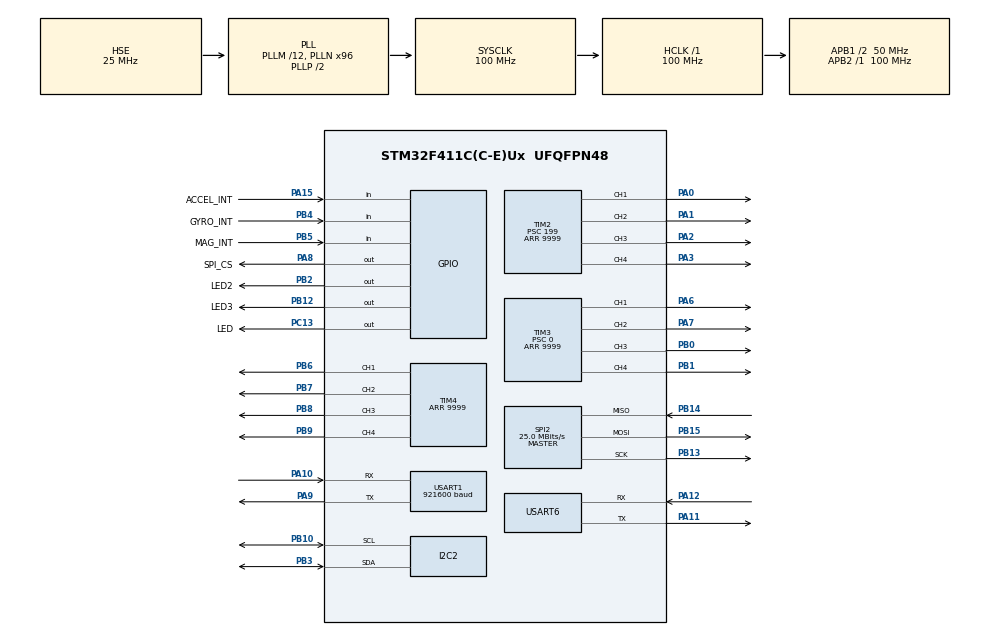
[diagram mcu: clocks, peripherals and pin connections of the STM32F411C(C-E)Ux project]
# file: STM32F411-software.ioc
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Mcu.Family=STM32F4
Mcu.Name=STM32F411C(C-E)Ux
Mcu.Package=UFQFPN48
NVIC.PriorityGroup=NVIC_PRIORITYGROUP_4
NVIC.TIM1_BRK_TIM9_IRQn=true\:0\:0\:false\:false\:true\:true\:true\:true
NVIC.TIM3_IRQn=true\:0\:0\:false\:false\:true\:true\:true\:true
NVIC.USART1_IRQn=true\:0\:0\:false\:false\:true\:true\:true\:true
PA0-WKUP.Signal=S_TIM2_CH1_ETR
PA1.Signal=S_TIM2_CH2
PA10.Mode=Asynchronous
PA10.Signal=USART1_RX
PA11.Mode=Asynchronous
PA11.Signal=USART6_TX
PA12.Mode=Asynchronous
PA12.Signal=USART6_RX
PA13.Mode=Serial_Wire
PA13.Signal=SYS_JTMS-SWDIO
PA14.Mode=Serial_Wire
PA14.Signal=SYS_JTCK-SWCLK
PA15.GPIO_Label=ACCEL_INT
PA15.Signal=GPIO_Input
PA2.Signal=S_TIM2_CH3
PA3.Signal=S_TIM2_CH4
PA6.Signal=S_TIM3_CH1
PA7.Signal=S_TIM3_CH2
PA8.GPIO_Label=SPI_CS
PA8.Signal=GPIO_Output
PA9.Mode=Asynchronous
PA9.Signal=USART1_TX
PB0.Signal=S_TIM3_CH3
PB1.Signal=S_TIM3_CH4
PB10.Mode=I2C
PB10.Signal=I2C2_SCL
PB12.GPIO_Label=LED3
PB12.Signal=GPIO_Output
PB13.Mode=Full_Duplex_Master
PB13.Signal=SPI2_SCK
PB14.Mode=Full_Duplex_Master
PB14.Signal=SPI2_MISO
PB15.Mode=Full_Duplex_Master
PB15.Signal=SPI2_MOSI
PB2.GPIO_Label=LED2
PB2.Signal=GPIO_Output
PB3.Mode=I2C
PB3.Signal=I2C2_SDA
PB4.GPIO_Label=GYRO_INT
PB4.Signal=GPIO_Input
PB5.GPIO_Label=MAG_INT
PB5.Signal=GPIO_Input
PB6.Signal=S_TIM4_CH1
PB7.Signal=S_TIM4_CH2
PB8.Signal=S_TIM4_CH3
PB9.Signal=S_TIM4_CH4
PC13-ANTI_TAMP.GPIO_Label=LED
PC13-ANTI_TAMP.Signal=GPIO_Output
PC14-OSC32_IN.Mode=LSE-External-Clock-Source
PC14-OSC32_IN.Signal=RCC_OSC32_IN
PC15-OSC32_OUT.Mode=LSE-External-Clock-Source
PC15-OSC32_OUT.Signal=RCC_OSC32_OUT
PH0\ -\ OSC_IN.Mode=HSE-External-Oscillator
PH0\ -\ OSC_IN.Signal=RCC_OSC_IN
PH1\ -\ OSC_OUT.Mode=HSE-External-Oscillator
PH1\ -\ OSC_OUT.Signal=RCC_OSC_OUT
ProjectManager.HeapSize=0x200
ProjectManager.StackSize=0x400
ProjectManager.TargetToolchain=STM32CubeIDE
RCC.48MHZClocksFreq_Value=50000000
RCC.AHBFreq_Value=100000000
RCC.APB1CLKDivider=RCC_HCLK_DIV2
RCC.APB1Freq_Value=50000000
RCC.APB1TimFreq_Value=100000000
RCC.APB2Freq_Value=100000000
RCC.APB2TimFreq_Value=100000000
RCC.CortexFreq_Value=100000000
RCC.HCLKFreq_Value=100000000
RCC.HSE_VALUE=25000000
RCC.HSI_VALUE=16000000
RCC.LSE_VALUE=32768
RCC.PLLM=12
RCC.PLLN=96
RCC.PLLSourceVirtual=RCC_PLLSOURCE_HSE
RCC.SYSCLKFreq_VALUE=100000000
RCC.SYSCLKSource=RCC_SYSCLKSOURCE_PLLCLK
RCC.VCOOutputFreq_Value=200000000
SH.S_TIM2_CH1_ETR.0=TIM2_CH1,PWM Generation1 CH1
SH.S_TIM2_CH2.0=TIM2_CH2,PWM Generation2 CH2
SH.S_TIM2_CH3.0=TIM2_CH3,PWM Generation3 CH3
SH.S_TIM2_CH4.0=TIM2_CH4,PWM Generation4 CH4
SH.S_TIM3_CH1.0=TIM3_CH1,PWM Generation1 CH1
SH.S_TIM3_CH2.0=TIM3_CH2,PWM Generation2 CH2
SH.S_TIM3_CH3.0=TIM3_CH3,PWM Generation3 CH3
SH.S_TIM3_CH4.0=TIM3_CH4,PWM Generation4 CH4
SH.S_TIM4_CH1.0=TIM4_CH1,PWM Generation1 CH1
SH.S_TIM4_CH2.0=TIM4_CH2,PWM Generation2 CH2
SH.S_TIM4_CH3.0=TIM4_CH3,PWM Generation3 CH3
SH.S_TIM4_CH4.0=TIM4_CH4,PWM Generation4 CH4
SPI2.CalculateBaudRate=25.0 MBits/s
SPI2.Direction=SPI_DIRECTION_2LINES
SPI2.Mode=SPI_MODE_MASTER
SPI2.VirtualType=VM_MASTER
TIM2.Channel-PWM\ Generation1\ CH1=TIM_CHANNEL_1
TIM2.Channel-PWM\ Generation2\ CH2=TIM_CHANNEL_2
TIM2.Channel-PWM\ Generation3\ CH3=TIM_CHANNEL_3
TIM2.Channel-PWM\ Generation4\ CH4=TIM_CHANNEL_4
TIM2.Period=9999
TIM2.Prescaler=199
TIM3.Channel-PWM\ Generation1\ CH1=TIM_CHANNEL_1
TIM3.Channel-PWM\ Generation2\ CH2=TIM_CHANNEL_2
TIM3.Channel-PWM\ Generation3\ CH3=TIM_CHANNEL_3
TIM3.Channel-PWM\ Generation4\ CH4=TIM_CHANNEL_4
TIM3.Period=9999
TIM3.Prescaler=0
TIM4.Channel-PWM\ Generation1\ CH1=TIM_CHANNEL_1
TIM4.Channel-PWM\ Generation2\ CH2=TIM_CHANNEL_2
TIM4.Channel-PWM\ Generation3\ CH3=TIM_CHANNEL_3
TIM4.Channel-PWM\ Generation4\ CH4=TIM_CHANNEL_4
TIM4.Period=9999
TIM9.Period=9999
TIM9.Prescaler=9999
USART1.BaudRate=921600
USART1.VirtualMode=VM_ASYNC
USART6.VirtualMode=VM_ASYNC
VP_TIM3_VS_ClockSourceINT.Mode=Internal
VP_TIM4_VS_ClockSourceINT.Mode=Internal
VP_TIM9_VS_ClockSourceINT.Mode=Internal
board=custom

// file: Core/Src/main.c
/* USER CODE BEGIN Header */
/**
  ******************************************************************************
  * @file           : main.c
  * @brief          : Main program body
  ******************************************************************************
  * @attention
  *
  * <h2><center>&copy; Copyright (c) 2021 STMicroelectronics.
  * All rights reserved.</center></h2>
  *
  * This software component is licensed by ST under BSD 3-Clause license,
  * the "License"; You may not use this file except in compliance with the
  * License. You may obtain a copy of the License at:
  *                        opensource.org/licenses/BSD-3-Clause
  *
  ******************************************************************************
  */
/* USER CODE END Header */
#include "main.h"

/* USER CODE BEGIN Includes */
#include "communication.h"
#include "control.h"

/* USER CODE END Includes */

I2C_HandleTypeDef hi2c2;

SPI_HandleTypeDef hspi2;

TIM_HandleTypeDef htim2;
TIM_HandleTypeDef htim3;
TIM_HandleTypeDef htim4;
TIM_HandleTypeDef htim9;

TIM_TypeDef *motorPWMSignal;

UART_HandleTypeDef huart1;
UART_HandleTypeDef huart6;

/* USER CODE BEGIN PV */
char command[4];
char return_msg[4];
int maxCCRVal = 0;

/* USER CODE END PV */

void SystemClock_Config(void);
static void MX_GPIO_Init(void);
static void MX_USART1_UART_Init(void);
static void MX_I2C2_Init(void);
static void MX_SPI2_Init(void);
static void MX_TIM3_Init(void);
static void MX_TIM4_Init(void);
static void MX_TIM9_Init(void);
static void MX_USART6_UART_Init(void);
static void MX_TIM2_Init(void);

/* USER CODE BEGIN 0 */
void HAL_TIM_PeriodElapsedCallback(TIM_HandleTypeDef* htim)
{

}

void HAL_UART_RxCpltCallback(UART_HandleTypeDef *huart)
{
    struct command cmd;
    decodeMessage(&cmd, command, 4);

//  HAL_GPIO_TogglePin(LED_GPIO_Port, LED_Pin);
    HAL_UART_Receive_IT(&huart1, (uint8_t *)command, 4);
}

/* USER CODE END 0 */

int main(void)
{

  /* MCU Configuration--------------------------------------------------------*/

  /* Reset of all peripherals, Initializes the Flash interface and the Systick. */
  HAL_Init();

  /* Configure the system clock */
  SystemClock_Config();

  /* Initialize all configured peripherals */
  MX_GPIO_Init();
  MX_USART1_UART_Init();
  MX_I2C2_Init();
  MX_SPI2_Init();
  MX_TIM3_Init();
  MX_TIM4_Init();
  MX_TIM9_Init();
  MX_USART6_UART_Init();
  MX_TIM2_Init();
  /* USER CODE BEGIN 2 */

  // start timer 9
  HAL_TIM_Base_Start_IT(&htim9);

  /* USER CODE END 2 */

  /* Infinite loop */
  /* USER CODE BEGIN WHILE */

  HAL_UART_Receive_IT(&huart1, (uint8_t *)command, 4);

    for (int i = 0; i < 4; ++i) {
        HAL_GPIO_WritePin(LED_GPIO_Port, LED_Pin, GPIO_PIN_SET);
        HAL_Delay(250);
        HAL_GPIO_WritePin(LED_GPIO_Port, LED_Pin, GPIO_PIN_RESET);
        HAL_Delay(250);
    }

    command[0] = 'A';
    command[1] = 'B';
    command[2] = 'C';
    command[3] = 'D';

    motorPWMSignal = TIM2;

    HAL_TIM_PWM_Start(&htim2, TIM_CHANNEL_1);
    HAL_TIM_PWM_Start(&htim2, TIM_CHANNEL_2);
    HAL_TIM_PWM_Start(&htim2, TIM_CHANNEL_3);
    HAL_TIM_PWM_Start(&htim2, TIM_CHANNEL_4);

    maxCCRVal = 10000;
    TIM2->CCR1 = 5000;
    TIM2->CCR2 = 5000;
    TIM2->CCR3 = 5000;
    TIM2->CCR4 = 5000;

    int i = 0;
    while (1)
    {
    	for (i = 0; i < 10000; i += 200)
    	{
    		setMotorDutyCycle(i, 3);
    		HAL_Delay(19);
    	}
    	HAL_GPIO_TogglePin(LED_GPIO_Port, LED_Pin);
    /* USER CODE END WHILE */

    }
}

void SystemClock_Config(void)
{
  RCC_OscInitTypeDef RCC_OscInitStruct = {0};
  RCC_ClkInitTypeDef RCC_ClkInitStruct = {0};

  /** Configure the main internal regulator output voltage
  */
  __HAL_RCC_PWR_CLK_ENABLE();
  __HAL_PWR_VOLTAGESCALING_CONFIG(PWR_REGULATOR_VOLTAGE_SCALE1);
  /** Initializes the RCC Oscillators according to the specified parameters
  * in the RCC_OscInitTypeDef structure.
  */
  RCC_OscInitStruct.OscillatorType = RCC_OSCILLATORTYPE_HSE;
  RCC_OscInitStruct.HSEState = RCC_HSE_ON;
  RCC_OscInitStruct.PLL.PLLState = RCC_PLL_ON;
  RCC_OscInitStruct.PLL.PLLSource = RCC_PLLSOURCE_HSE;
  RCC_OscInitStruct.PLL.PLLM = 12;
  RCC_OscInitStruct.PLL.PLLN = 96;
  RCC_OscInitStruct.PLL.PLLP = RCC_PLLP_DIV2;
  RCC_OscInitStruct.PLL.PLLQ = 4;
  if (HAL_RCC_OscConfig(&RCC_OscInitStruct) != HAL_OK)
  {
    Error_Handler();
  }
  /** Initializes the CPU, AHB and APB buses clocks
  */
  RCC_ClkInitStruct.ClockType = RCC_CLOCKTYPE_HCLK|RCC_CLOCKTYPE_SYSCLK
                              |RCC_CLOCKTYPE_PCLK1|RCC_CLOCKTYPE_PCLK2;
  RCC_ClkInitStruct.SYSCLKSource = RCC_SYSCLKSOURCE_PLLCLK;
  RCC_ClkInitStruct.AHBCLKDivider = RCC_SYSCLK_DIV1;
  RCC_ClkInitStruct.APB1CLKDivider = RCC_HCLK_DIV2;
  RCC_ClkInitStruct.APB2CLKDivider = RCC_HCLK_DIV1;

  if (HAL_RCC_ClockConfig(&RCC_ClkInitStruct, FLASH_LATENCY_3) != HAL_OK)
  {
    Error_Handler();
  }
}

static void MX_I2C2_Init(void)
{

  hi2c2.Instance = I2C2;
  hi2c2.Init.ClockSpeed = 100000;
  hi2c2.Init.DutyCycle = I2C_DUTYCYCLE_2;
  hi2c2.Init.OwnAddress1 = 0;
  hi2c2.Init.AddressingMode = I2C_ADDRESSINGMODE_7BIT;
  hi2c2.Init.DualAddressMode = I2C_DUALADDRESS_DISABLE;
  hi2c2.Init.OwnAddress2 = 0;
  hi2c2.Init.GeneralCallMode = I2C_GENERALCALL_DISABLE;
  hi2c2.Init.NoStretchMode = I2C_NOSTRETCH_DISABLE;
  if (HAL_I2C_Init(&hi2c2) != HAL_OK)
  {
    Error_Handler();
  }

}

static void MX_SPI2_Init(void)
{

  /* SPI2 parameter configuration*/
  hspi2.Instance = SPI2;
  hspi2.Init.Mode = SPI_MODE_MASTER;
  hspi2.Init.Direction = SPI_DIRECTION_2LINES;
  hspi2.Init.DataSize = SPI_DATASIZE_8BIT;
  hspi2.Init.CLKPolarity = SPI_POLARITY_LOW;
  hspi2.Init.CLKPhase = SPI_PHASE_1EDGE;
  hspi2.Init.NSS = SPI_NSS_SOFT;
  hspi2.Init.BaudRatePrescaler = SPI_BAUDRATEPRESCALER_2;
  hspi2.Init.FirstBit = SPI_FIRSTBIT_MSB;
  hspi2.Init.TIMode = SPI_TIMODE_DISABLE;
  hspi2.Init.CRCCalculation = SPI_CRCCALCULATION_DISABLE;
  hspi2.Init.CRCPolynomial = 10;
  if (HAL_SPI_Init(&hspi2) != HAL_OK)
  {
    Error_Handler();
  }

}

static void MX_TIM2_Init(void)
{

  TIM_MasterConfigTypeDef sMasterConfig = {0};
  TIM_OC_InitTypeDef sConfigOC = {0};

  htim2.Instance = TIM2;
  htim2.Init.Prescaler = 199;
  htim2.Init.CounterMode = TIM_COUNTERMODE_UP;
  htim2.Init.Period = 9999;
  htim2.Init.ClockDivision = TIM_CLOCKDIVISION_DIV1;
  htim2.Init.AutoReloadPreload = TIM_AUTORELOAD_PRELOAD_DISABLE;
  if (HAL_TIM_PWM_Init(&htim2) != HAL_OK)
  {
    Error_Handler();
  }
  sMasterConfig.MasterOutputTrigger = TIM_TRGO_RESET;
  sMasterConfig.MasterSlaveMode = TIM_MASTERSLAVEMODE_DISABLE;
  if (HAL_TIMEx_MasterConfigSynchronization(&htim2, &sMasterConfig) != HAL_OK)
  {
    Error_Handler();
  }
  sConfigOC.OCMode = TIM_OCMODE_PWM1;
  sConfigOC.Pulse = 0;
  sConfigOC.OCPolarity = TIM_OCPOLARITY_HIGH;
  sConfigOC.OCFastMode = TIM_OCFAST_DISABLE;
  if (HAL_TIM_PWM_ConfigChannel(&htim2, &sConfigOC, TIM_CHANNEL_1) != HAL_OK)
  {
    Error_Handler();
  }
  if (HAL_TIM_PWM_ConfigChannel(&htim2, &sConfigOC, TIM_CHANNEL_2) != HAL_OK)
  {
    Error_Handler();
  }
  if (HAL_TIM_PWM_ConfigChannel(&htim2, &sConfigOC, TIM_CHANNEL_3) != HAL_OK)
  {
    Error_Handler();
  }
  if (HAL_TIM_PWM_ConfigChannel(&htim2, &sConfigOC, TIM_CHANNEL_4) != HAL_OK)
  {
    Error_Handler();
  }
  HAL_TIM_MspPostInit(&htim2);

}

static void MX_TIM3_Init(void)
{

  TIM_ClockConfigTypeDef sClockSourceConfig = {0};
  TIM_MasterConfigTypeDef sMasterConfig = {0};
  TIM_OC_InitTypeDef sConfigOC = {0};

  htim3.Instance = TIM3;
  htim3.Init.Prescaler = 0;
  htim3.Init.CounterMode = TIM_COUNTERMODE_UP;
  htim3.Init.Period = 9999;
  htim3.Init.ClockDivision = TIM_CLOCKDIVISION_DIV1;
  htim3.Init.AutoReloadPreload = TIM_AUTORELOAD_PRELOAD_DISABLE;
  if (HAL_TIM_Base_Init(&htim3) != HAL_OK)
  {
    Error_Handler();
  }
  sClockSourceConfig.ClockSource = TIM_CLOCKSOURCE_INTERNAL;
  if (HAL_TIM_ConfigClockSource(&htim3, &sClockSourceConfig) != HAL_OK)
  {
    Error_Handler();
  }
  if (HAL_TIM_PWM_Init(&htim3) != HAL_OK)
  {
    Error_Handler();
  }
  sMasterConfig.MasterOutputTrigger = TIM_TRGO_RESET;
  sMasterConfig.MasterSlaveMode = TIM_MASTERSLAVEMODE_DISABLE;
  if (HAL_TIMEx_MasterConfigSynchronization(&htim3, &sMasterConfig) != HAL_OK)
  {
    Error_Handler();
  }
  sConfigOC.OCMode = TIM_OCMODE_PWM1;
  sConfigOC.Pulse = 0;
  sConfigOC.OCPolarity = TIM_OCPOLARITY_HIGH;
  sConfigOC.OCFastMode = TIM_OCFAST_DISABLE;
  if (HAL_TIM_PWM_ConfigChannel(&htim3, &sConfigOC, TIM_CHANNEL_1) != HAL_OK)
  {
    Error_Handler();
  }
  if (HAL_TIM_PWM_ConfigChannel(&htim3, &sConfigOC, TIM_CHANNEL_2) != HAL_OK)
  {
    Error_Handler();
  }
  if (HAL_TIM_PWM_ConfigChannel(&htim3, &sConfigOC, TIM_CHANNEL_3) != HAL_OK)
  {
    Error_Handler();
  }
  if (HAL_TIM_PWM_ConfigChannel(&htim3, &sConfigOC, TIM_CHANNEL_4) != HAL_OK)
  {
    Error_Handler();
  }
  HAL_TIM_MspPostInit(&htim3);

}

static void MX_TIM4_Init(void)
{

  TIM_ClockConfigTypeDef sClockSourceConfig = {0};
  TIM_MasterConfigTypeDef sMasterConfig = {0};
  TIM_OC_InitTypeDef sConfigOC = {0};

  htim4.Instance = TIM4;
  htim4.Init.Prescaler = 0;
  htim4.Init.CounterMode = TIM_COUNTERMODE_UP;
  htim4.Init.Period = 9999;
  htim4.Init.ClockDivision = TIM_CLOCKDIVISION_DIV1;
  htim4.Init.AutoReloadPreload = TIM_AUTORELOAD_PRELOAD_DISABLE;
  if (HAL_TIM_Base_Init(&htim4) != HAL_OK)
  {
    Error_Handler();
  }
  sClockSourceConfig.ClockSource = TIM_CLOCKSOURCE_INTERNAL;
  if (HAL_TIM_ConfigClockSource(&htim4, &sClockSourceConfig) != HAL_OK)
  {
    Error_Handler();
  }
  if (HAL_TIM_PWM_Init(&htim4) != HAL_OK)
  {
    Error_Handler();
  }
  sMasterConfig.MasterOutputTrigger = TIM_TRGO_RESET;
  sMasterConfig.MasterSlaveMode = TIM_MASTERSLAVEMODE_DISABLE;
  if (HAL_TIMEx_MasterConfigSynchronization(&htim4, &sMasterConfig) != HAL_OK)
  {
    Error_Handler();
  }
  sConfigOC.OCMode = TIM_OCMODE_PWM1;
  sConfigOC.Pulse = 0;
  sConfigOC.OCPolarity = TIM_OCPOLARITY_HIGH;
  sConfigOC.OCFastMode = TIM_OCFAST_DISABLE;
  if (HAL_TIM_PWM_ConfigChannel(&htim4, &sConfigOC, TIM_CHANNEL_1) != HAL_OK)
  {
    Error_Handler();
  }
  if (HAL_TIM_PWM_ConfigChannel(&htim4, &sConfigOC, TIM_CHANNEL_2) != HAL_OK)
  {
    Error_Handler();
  }
  if (HAL_TIM_PWM_ConfigChannel(&htim4, &sConfigOC, TIM_CHANNEL_3) != HAL_OK)
  {
    Error_Handler();
  }
  if (HAL_TIM_PWM_ConfigChannel(&htim4, &sConfigOC, TIM_CHANNEL_4) != HAL_OK)
  {
    Error_Handler();
  }
  HAL_TIM_MspPostInit(&htim4);

}

static void MX_TIM9_Init(void)
{

  TIM_ClockConfigTypeDef sClockSourceConfig = {0};

  htim9.Instance = TIM9;
  htim9.Init.Prescaler = 9999;
  htim9.Init.CounterMode = TIM_COUNTERMODE_UP;
  htim9.Init.Period = 9999;
  htim9.Init.ClockDivision = TIM_CLOCKDIVISION_DIV1;
  htim9.Init.AutoReloadPreload = TIM_AUTORELOAD_PRELOAD_DISABLE;
  if (HAL_TIM_Base_Init(&htim9) != HAL_OK)
  {
    Error_Handler();
  }
  sClockSourceConfig.ClockSource = TIM_CLOCKSOURCE_INTERNAL;
  if (HAL_TIM_ConfigClockSource(&htim9, &sClockSourceConfig) != HAL_OK)
  {
    Error_Handler();
  }

}

static void MX_USART1_UART_Init(void)
{

  huart1.Instance = USART1;
  huart1.Init.BaudRate = 921600;
  huart1.Init.WordLength = UART_WORDLENGTH_8B;
  huart1.Init.StopBits = UART_STOPBITS_1;
  huart1.Init.Parity = UART_PARITY_NONE;
  huart1.Init.Mode = UART_MODE_TX_RX;
  huart1.Init.HwFlowCtl = UART_HWCONTROL_NONE;
  huart1.Init.OverSampling = UART_OVERSAMPLING_16;
  if (HAL_UART_Init(&huart1) != HAL_OK)
  {
    Error_Handler();
  }

}

static void MX_USART6_UART_Init(void)
{

  huart6.Instance = USART6;
  huart6.Init.BaudRate = 115200;
  huart6.Init.WordLength = UART_WORDLENGTH_8B;
  huart6.Init.StopBits = UART_STOPBITS_1;
  huart6.Init.Parity = UART_PARITY_NONE;
  huart6.Init.Mode = UART_MODE_TX_RX;
  huart6.Init.HwFlowCtl = UART_HWCONTROL_NONE;
  huart6.Init.OverSampling = UART_OVERSAMPLING_16;
  if (HAL_UART_Init(&huart6) != HAL_OK)
  {
    Error_Handler();
  }

}

static void MX_GPIO_Init(void)
{
  GPIO_InitTypeDef GPIO_InitStruct = {0};

  /* GPIO Ports Clock Enable */
  __HAL_RCC_GPIOC_CLK_ENABLE();
  __HAL_RCC_GPIOH_CLK_ENABLE();
  __HAL_RCC_GPIOA_CLK_ENABLE();
  __HAL_RCC_GPIOB_CLK_ENABLE();

  /*Configure GPIO pin Output Level */
  HAL_GPIO_WritePin(LED_GPIO_Port, LED_Pin, GPIO_PIN_RESET);

  /*Configure GPIO pin Output Level */
  HAL_GPIO_WritePin(GPIOB, LED2_Pin|LED3_Pin, GPIO_PIN_RESET);

  /*Configure GPIO pin Output Level */
  HAL_GPIO_WritePin(SPI_CS_GPIO_Port, SPI_CS_Pin, GPIO_PIN_RESET);

  /*Configure GPIO pin : LED_Pin */
  GPIO_InitStruct.Pin = LED_Pin;
  GPIO_InitStruct.Mode = GPIO_MODE_OUTPUT_PP;
  GPIO_InitStruct.Pull = GPIO_NOPULL;
  GPIO_InitStruct.Speed = GPIO_SPEED_FREQ_LOW;
  HAL_GPIO_Init(LED_GPIO_Port, &GPIO_InitStruct);

  /*Configure GPIO pins : LED2_Pin LED3_Pin */
  GPIO_InitStruct.Pin = LED2_Pin|LED3_Pin;
  GPIO_InitStruct.Mode = GPIO_MODE_OUTPUT_PP;
  GPIO_InitStruct.Pull = GPIO_NOPULL;
  GPIO_InitStruct.Speed = GPIO_SPEED_FREQ_LOW;
  HAL_GPIO_Init(GPIOB, &GPIO_InitStruct);

  /*Configure GPIO pin : SPI_CS_Pin */
  GPIO_InitStruct.Pin = SPI_CS_Pin;
  GPIO_InitStruct.Mode = GPIO_MODE_OUTPUT_PP;
  GPIO_InitStruct.Pull = GPIO_NOPULL;
  GPIO_InitStruct.Speed = GPIO_SPEED_FREQ_LOW;
  HAL_GPIO_Init(SPI_CS_GPIO_Port, &GPIO_InitStruct);

  /*Configure GPIO pin : ACCEL_INT_Pin */
  GPIO_InitStruct.Pin = ACCEL_INT_Pin;
  GPIO_InitStruct.Mode = GPIO_MODE_INPUT;
  GPIO_InitStruct.Pull = GPIO_NOPULL;
  HAL_GPIO_Init(ACCEL_INT_GPIO_Port, &GPIO_InitStruct);

  /*Configure GPIO pins : GYRO_INT_Pin MAG_INT_Pin */
  GPIO_InitStruct.Pin = GYRO_INT_Pin|MAG_INT_Pin;
  GPIO_InitStruct.Mode = GPIO_MODE_INPUT;
  GPIO_InitStruct.Pull = GPIO_NOPULL;
  HAL_GPIO_Init(GPIOB, &GPIO_InitStruct);

}

void Error_Handler(void)
{
  __disable_irq();
  while (1)
  {
  }
}

/************************ (C) COPYRIGHT STMicroelectronics *****END OF FILE****/
